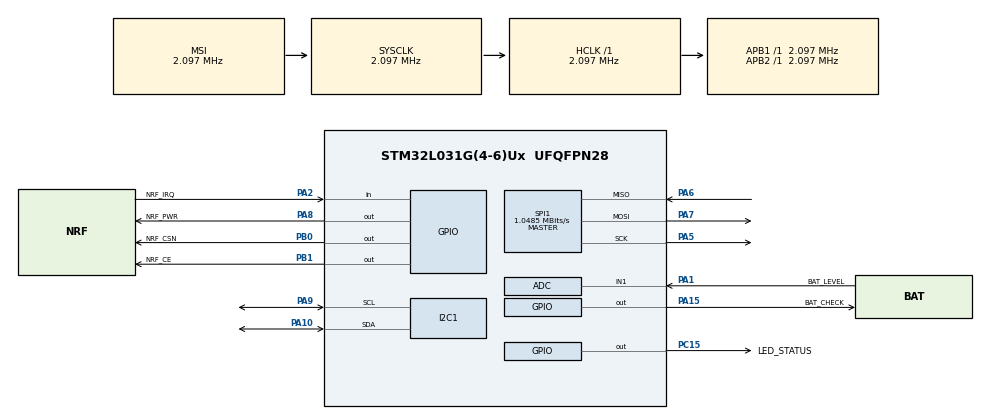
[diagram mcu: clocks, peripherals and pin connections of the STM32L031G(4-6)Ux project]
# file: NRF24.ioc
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Mcu.Family=STM32L0
Mcu.Name=STM32L031G(4-6)Ux
Mcu.Package=UFQFPN28
PA1.GPIO_Label=BAT_LEVEL
PA1.Mode=IN1
PA1.Signal=ADC_IN1
PA10.Mode=I2C
PA10.Signal=I2C1_SDA
PA13.Mode=Serial_Wire
PA13.Signal=SYS_SWDIO
PA14.Mode=Serial_Wire
PA14.Signal=SYS_SWCLK
PA15.GPIO_Label=BAT_CHECK
PA15.Signal=GPIO_Output
PA2.GPIO_Label=NRF_IRQ
PA2.Signal=GPIO_Input
PA5.Mode=Full_Duplex_Master
PA5.Signal=SPI1_SCK
PA6.Mode=Full_Duplex_Master
PA6.Signal=SPI1_MISO
PA7.Mode=Full_Duplex_Master
PA7.Signal=SPI1_MOSI
PA8.GPIO_Label=NRF_PWR
PA8.Signal=GPIO_Output
PA9.Mode=I2C
PA9.Signal=I2C1_SCL
PB0.GPIO_Label=NRF_CSN
PB0.Signal=GPIO_Output
PB1.GPIO_Label=NRF_CE
PB1.Signal=GPIO_Output
PC15-OSC32_OUT.GPIO_Label=LED_STATUS
PC15-OSC32_OUT.Signal=GPIO_Output
ProjectManager.HeapSize=0x200
ProjectManager.StackSize=0x400
ProjectManager.TargetToolchain=STM32CubeIDE
RCC.AHBFreq_Value=2097000
RCC.APB1Freq_Value=2097000
RCC.APB1TimFreq_Value=2097000
RCC.APB2Freq_Value=2097000
RCC.APB2TimFreq_Value=2097000
RCC.HSE_VALUE=8000000
RCC.HSI16_VALUE=16000000
RCC.HSI_VALUE=16000000
RCC.LSE_VALUE=32768
RCC.MSI_VALUE=2097000
RCC.SYSCLKFreq_VALUE=2097000
RCC.VCOOutputFreq_Value=48000000
SPI1.CalculateBaudRate=1.0485 MBits/s
SPI1.Direction=SPI_DIRECTION_2LINES
SPI1.Mode=SPI_MODE_MASTER
SPI1.VirtualType=VM_MASTER
VP_RTC_VS_RTC_Activate.Mode=RTC_Enabled
VP_RTC_VS_RTC_Calendar.Mode=RTC_Calendar
VP_RTC_VS_RTC_WakeUp_intern.Mode=WakeUp
board=custom

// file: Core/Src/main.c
/* USER CODE BEGIN Header */
/**
  ******************************************************************************
  * @file           : main.c
  * @brief          : Main program body
  ******************************************************************************
  * @attention
  *
  * <h2><center>&copy; Copyright (c) 2020 STMicroelectronics.
  * All rights reserved.</center></h2>
  *
  * This software component is licensed by ST under BSD 3-Clause license,
  * the "License"; You may not use this file except in compliance with the
  * License. You may obtain a copy of the License at:
  *                        opensource.org/licenses/BSD-3-Clause
  *
  ******************************************************************************
  */
/* USER CODE END Header */
#include "main.h"

/* USER CODE BEGIN Includes */
#include "nrf24.h"
/* USER CODE END Includes */

ADC_HandleTypeDef hadc;

I2C_HandleTypeDef hi2c1;

RTC_HandleTypeDef hrtc;

SPI_HandleTypeDef hspi1;

void SystemClock_Config(void);
static void MX_GPIO_Init(void);
static void MX_I2C1_Init(void);
static void MX_ADC_Init(void);
static void MX_SPI1_Init(void);
static void MX_RTC_Init(void);

int main(void)
{
  /* USER CODE BEGIN 1 */
	uint8_t s,n;
	uint8_t count;
 	uint8_t buffer[10] = {0,0,0,0,0,0,0,0,0,0};
	uint8_t tx_addr[5] = {"1Node"};
	uint8_t pipe0[5] = {"2Node"};
  /* USER CODE END 1 */

  /* MCU Configuration--------------------------------------------------------*/

  /* Reset of all peripherals, Initializes the Flash interface and the Systick. */
  HAL_Init();

  /* Configure the system clock */
  SystemClock_Config();

  /* Initialize all configured peripherals */
  MX_GPIO_Init();
  MX_I2C1_Init();
  MX_ADC_Init();
  MX_SPI1_Init();
  MX_RTC_Init();
  /* USER CODE BEGIN 2 */

  HAL_GPIO_WritePin(BAT_CHECK_GPIO_Port, BAT_CHECK_Pin, GPIO_PIN_SET);

  nRF24_Init(&hspi1);
  s = nRF24_GetStatus();
  nRF24_FlushTX();
  nRF24_FlushRX();
  //nRF24_DisableAA(0);
  nRF24_SetRole(nRF24_ROLE_PTX);
  nRF24_SetRFChannel(115);
  nRF24_SetAddr(nRF24_PIPETX, tx_addr);
  nRF24_SetAddr(nRF24_PIPE0, pipe0);
  nRF24_SetDatarate(nRF24_DR_1Mbps);
  nRF24_SetCRC(nRF24_CRC_Disabled);
  nRF24_SetPowerMode(nRF24_MODE_PWR_UP);
  nRF24_SetARD(nRF24_ARD_1000);
  nRF24_SetARC(5);

  /* USER CODE END 2 */

  /* Infinite loop */
  /* USER CODE BEGIN WHILE */
  n = '0';
  while (1)
  {
    /* USER CODE END WHILE */

    /* USER CODE BEGIN 3 */

	  strcpy(buffer, "Test");
	  buffer[4] = n++;
	  if (n>'9') n = '0';
	  nRF24_WriteTXPayload(buffer, 5);
	  nRF24_CE_HIGH;
	  count = 10;
	  do {
		  s = nRF24_GetStatus();
		  if (s & nRF24_STATUS_TX_DS) {
			  s = s;
			  s = s;
			  break;
		  }
	  } while(--count);
	  //nRF24_WriteRegister(nRF24_REG_STATUS, 0b01110000);
	  nRF24_CE_LOW;
	  s = nRF24_GetStatus();
	  s = s;
	  s = nRF24_ReadRegister(nRF24_REG_OBSERVE_TX);
	  s = s;

	  HAL_Delay(500);
	  HAL_GPIO_TogglePin(LED_STATUS_GPIO_Port, LED_STATUS_Pin);
  }
  /* USER CODE END 3 */
}

void SystemClock_Config(void)
{
  RCC_OscInitTypeDef RCC_OscInitStruct = {0};
  RCC_ClkInitTypeDef RCC_ClkInitStruct = {0};
  RCC_PeriphCLKInitTypeDef PeriphClkInit = {0};

  /** Configure the main internal regulator output voltage
  */
  __HAL_PWR_VOLTAGESCALING_CONFIG(PWR_REGULATOR_VOLTAGE_SCALE1);
  /** Initializes the RCC Oscillators according to the specified parameters
  * in the RCC_OscInitTypeDef structure.
  */
  RCC_OscInitStruct.OscillatorType = RCC_OSCILLATORTYPE_LSI|RCC_OSCILLATORTYPE_MSI;
  RCC_OscInitStruct.LSIState = RCC_LSI_ON;
  RCC_OscInitStruct.MSIState = RCC_MSI_ON;
  RCC_OscInitStruct.MSICalibrationValue = 0;
  RCC_OscInitStruct.MSIClockRange = RCC_MSIRANGE_5;
  RCC_OscInitStruct.PLL.PLLState = RCC_PLL_NONE;
  if (HAL_RCC_OscConfig(&RCC_OscInitStruct) != HAL_OK)
  {
    Error_Handler();
  }
  /** Initializes the CPU, AHB and APB buses clocks
  */
  RCC_ClkInitStruct.ClockType = RCC_CLOCKTYPE_HCLK|RCC_CLOCKTYPE_SYSCLK
                              |RCC_CLOCKTYPE_PCLK1|RCC_CLOCKTYPE_PCLK2;
  RCC_ClkInitStruct.SYSCLKSource = RCC_SYSCLKSOURCE_MSI;
  RCC_ClkInitStruct.AHBCLKDivider = RCC_SYSCLK_DIV1;
  RCC_ClkInitStruct.APB1CLKDivider = RCC_HCLK_DIV1;
  RCC_ClkInitStruct.APB2CLKDivider = RCC_HCLK_DIV1;

  if (HAL_RCC_ClockConfig(&RCC_ClkInitStruct, FLASH_LATENCY_0) != HAL_OK)
  {
    Error_Handler();
  }
  PeriphClkInit.PeriphClockSelection = RCC_PERIPHCLK_I2C1|RCC_PERIPHCLK_RTC;
  PeriphClkInit.I2c1ClockSelection = RCC_I2C1CLKSOURCE_PCLK1;
  PeriphClkInit.RTCClockSelection = RCC_RTCCLKSOURCE_LSI;
  if (HAL_RCCEx_PeriphCLKConfig(&PeriphClkInit) != HAL_OK)
  {
    Error_Handler();
  }
}

static void MX_ADC_Init(void)
{

  ADC_ChannelConfTypeDef sConfig = {0};

  /** Configure the global features of the ADC (Clock, Resolution, Data Alignment and number of conversion)
  */
  hadc.Instance = ADC1;
  hadc.Init.OversamplingMode = DISABLE;
  hadc.Init.ClockPrescaler = ADC_CLOCK_SYNC_PCLK_DIV1;
  hadc.Init.Resolution = ADC_RESOLUTION_12B;
  hadc.Init.SamplingTime = ADC_SAMPLETIME_1CYCLE_5;
  hadc.Init.ScanConvMode = ADC_SCAN_DIRECTION_FORWARD;
  hadc.Init.DataAlign = ADC_DATAALIGN_RIGHT;
  hadc.Init.ContinuousConvMode = DISABLE;
  hadc.Init.DiscontinuousConvMode = DISABLE;
  hadc.Init.ExternalTrigConvEdge = ADC_EXTERNALTRIGCONVEDGE_NONE;
  hadc.Init.ExternalTrigConv = ADC_SOFTWARE_START;
  hadc.Init.DMAContinuousRequests = DISABLE;
  hadc.Init.EOCSelection = ADC_EOC_SINGLE_CONV;
  hadc.Init.Overrun = ADC_OVR_DATA_PRESERVED;
  hadc.Init.LowPowerAutoWait = DISABLE;
  hadc.Init.LowPowerFrequencyMode = ENABLE;
  hadc.Init.LowPowerAutoPowerOff = DISABLE;
  if (HAL_ADC_Init(&hadc) != HAL_OK)
  {
    Error_Handler();
  }
  /** Configure for the selected ADC regular channel to be converted.
  */
  sConfig.Channel = ADC_CHANNEL_1;
  sConfig.Rank = ADC_RANK_CHANNEL_NUMBER;
  if (HAL_ADC_ConfigChannel(&hadc, &sConfig) != HAL_OK)
  {
    Error_Handler();
  }

}

static void MX_I2C1_Init(void)
{

  hi2c1.Instance = I2C1;
  hi2c1.Init.Timing = 0x00000708;
  hi2c1.Init.OwnAddress1 = 0;
  hi2c1.Init.AddressingMode = I2C_ADDRESSINGMODE_7BIT;
  hi2c1.Init.DualAddressMode = I2C_DUALADDRESS_DISABLE;
  hi2c1.Init.OwnAddress2 = 0;
  hi2c1.Init.OwnAddress2Masks = I2C_OA2_NOMASK;
  hi2c1.Init.GeneralCallMode = I2C_GENERALCALL_DISABLE;
  hi2c1.Init.NoStretchMode = I2C_NOSTRETCH_DISABLE;
  if (HAL_I2C_Init(&hi2c1) != HAL_OK)
  {
    Error_Handler();
  }
  /** Configure Analogue filter
  */
  if (HAL_I2CEx_ConfigAnalogFilter(&hi2c1, I2C_ANALOGFILTER_ENABLE) != HAL_OK)
  {
    Error_Handler();
  }
  /** Configure Digital filter
  */
  if (HAL_I2CEx_ConfigDigitalFilter(&hi2c1, 0) != HAL_OK)
  {
    Error_Handler();
  }

}

static void MX_RTC_Init(void)
{

  RTC_TimeTypeDef sTime = {0};
  RTC_DateTypeDef sDate = {0};

  /** Initialize RTC Only
  */
  hrtc.Instance = RTC;
  hrtc.Init.HourFormat = RTC_HOURFORMAT_24;
  hrtc.Init.AsynchPrediv = 127;
  hrtc.Init.SynchPrediv = 255;
  hrtc.Init.OutPut = RTC_OUTPUT_DISABLE;
  hrtc.Init.OutPutRemap = RTC_OUTPUT_REMAP_NONE;
  hrtc.Init.OutPutPolarity = RTC_OUTPUT_POLARITY_HIGH;
  hrtc.Init.OutPutType = RTC_OUTPUT_TYPE_OPENDRAIN;
  if (HAL_RTC_Init(&hrtc) != HAL_OK)
  {
    Error_Handler();
  }

  /** Initialize RTC and set the Time and Date
  */
  sTime.Hours = 0x0;
  sTime.Minutes = 0x0;
  sTime.Seconds = 0x0;
  sTime.DayLightSaving = RTC_DAYLIGHTSAVING_NONE;
  sTime.StoreOperation = RTC_STOREOPERATION_RESET;
  if (HAL_RTC_SetTime(&hrtc, &sTime, RTC_FORMAT_BCD) != HAL_OK)
  {
    Error_Handler();
  }
  sDate.WeekDay = RTC_WEEKDAY_MONDAY;
  sDate.Month = RTC_MONTH_JANUARY;
  sDate.Date = 0x1;
  sDate.Year = 0x0;

  if (HAL_RTC_SetDate(&hrtc, &sDate, RTC_FORMAT_BCD) != HAL_OK)
  {
    Error_Handler();
  }
  /** Enable the WakeUp
  */
  if (HAL_RTCEx_SetWakeUpTimer(&hrtc, 0, RTC_WAKEUPCLOCK_RTCCLK_DIV16) != HAL_OK)
  {
    Error_Handler();
  }

}

static void MX_SPI1_Init(void)
{

  /* SPI1 parameter configuration*/
  hspi1.Instance = SPI1;
  hspi1.Init.Mode = SPI_MODE_MASTER;
  hspi1.Init.Direction = SPI_DIRECTION_2LINES;
  hspi1.Init.DataSize = SPI_DATASIZE_8BIT;
  hspi1.Init.CLKPolarity = SPI_POLARITY_LOW;
  hspi1.Init.CLKPhase = SPI_PHASE_1EDGE;
  hspi1.Init.NSS = SPI_NSS_SOFT;
  hspi1.Init.BaudRatePrescaler = SPI_BAUDRATEPRESCALER_2;
  hspi1.Init.FirstBit = SPI_FIRSTBIT_MSB;
  hspi1.Init.TIMode = SPI_TIMODE_DISABLE;
  hspi1.Init.CRCCalculation = SPI_CRCCALCULATION_DISABLE;
  hspi1.Init.CRCPolynomial = 7;
  if (HAL_SPI_Init(&hspi1) != HAL_OK)
  {
    Error_Handler();
  }

}

static void MX_GPIO_Init(void)
{
  GPIO_InitTypeDef GPIO_InitStruct = {0};

  /* GPIO Ports Clock Enable */
  __HAL_RCC_GPIOC_CLK_ENABLE();
  __HAL_RCC_GPIOA_CLK_ENABLE();
  __HAL_RCC_GPIOB_CLK_ENABLE();

  /*Configure GPIO pin Output Level */
  HAL_GPIO_WritePin(LED_STATUS_GPIO_Port, LED_STATUS_Pin, GPIO_PIN_RESET);

  /*Configure GPIO pin Output Level */
  HAL_GPIO_WritePin(GPIOB, NRF_CSN_Pin|NRF_CE_Pin, GPIO_PIN_RESET);

  /*Configure GPIO pin Output Level */
  HAL_GPIO_WritePin(GPIOA, NRF_PWR_Pin|BAT_CHECK_Pin, GPIO_PIN_RESET);

  /*Configure GPIO pin : LED_STATUS_Pin */
  GPIO_InitStruct.Pin = LED_STATUS_Pin;
  GPIO_InitStruct.Mode = GPIO_MODE_OUTPUT_PP;
  GPIO_InitStruct.Pull = GPIO_NOPULL;
  GPIO_InitStruct.Speed = GPIO_SPEED_FREQ_LOW;
  HAL_GPIO_Init(LED_STATUS_GPIO_Port, &GPIO_InitStruct);

  /*Configure GPIO pin : NRF_IRQ_Pin */
  GPIO_InitStruct.Pin = NRF_IRQ_Pin;
  GPIO_InitStruct.Mode = GPIO_MODE_INPUT;
  GPIO_InitStruct.Pull = GPIO_NOPULL;
  HAL_GPIO_Init(NRF_IRQ_GPIO_Port, &GPIO_InitStruct);

  /*Configure GPIO pins : NRF_CSN_Pin NRF_CE_Pin */
  GPIO_InitStruct.Pin = NRF_CSN_Pin|NRF_CE_Pin;
  GPIO_InitStruct.Mode = GPIO_MODE_OUTPUT_PP;
  GPIO_InitStruct.Pull = GPIO_NOPULL;
  GPIO_InitStruct.Speed = GPIO_SPEED_FREQ_LOW;
  HAL_GPIO_Init(GPIOB, &GPIO_InitStruct);

  /*Configure GPIO pins : NRF_PWR_Pin BAT_CHECK_Pin */
  GPIO_InitStruct.Pin = NRF_PWR_Pin|BAT_CHECK_Pin;
  GPIO_InitStruct.Mode = GPIO_MODE_OUTPUT_PP;
  GPIO_InitStruct.Pull = GPIO_NOPULL;
  GPIO_InitStruct.Speed = GPIO_SPEED_FREQ_LOW;
  HAL_GPIO_Init(GPIOA, &GPIO_InitStruct);

}

void Error_Handler(void)
{
}

/************************ (C) COPYRIGHT STMicroelectronics *****END OF FILE****/
